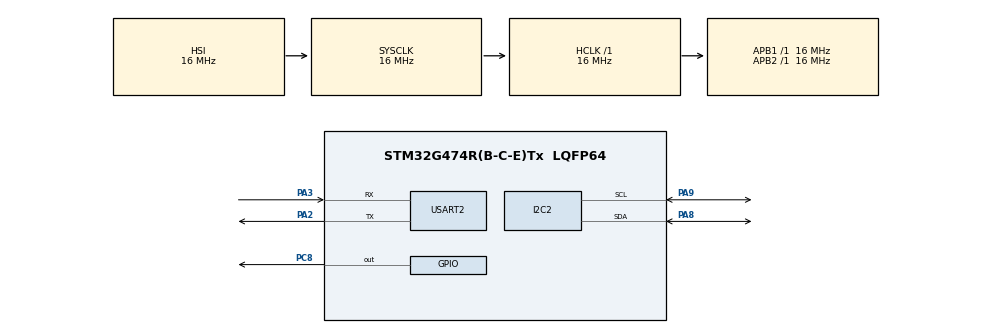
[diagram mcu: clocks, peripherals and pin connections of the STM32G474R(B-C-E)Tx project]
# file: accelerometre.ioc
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I2C2.Timing=0x00503D58
Mcu.Family=STM32G4
Mcu.Name=STM32G474R(B-C-E)Tx
Mcu.Package=LQFP64
NVIC.PriorityGroup=NVIC_PRIORITYGROUP_4
PA2.Mode=Asynchronous
PA2.Signal=USART2_TX
PA3.Mode=Asynchronous
PA3.Signal=USART2_RX
PA8.Mode=I2C
PA8.Signal=I2C2_SDA
PA9.Mode=I2C
PA9.Signal=I2C2_SCL
PC8.Signal=GPIO_Output
ProjectManager.HeapSize=0x200
ProjectManager.StackSize=0x400
ProjectManager.TargetToolchain=STM32CubeIDE
RCC.AHBFreq_Value=16000000
RCC.APB1Freq_Value=16000000
RCC.APB1TimFreq_Value=16000000
RCC.APB2Freq_Value=16000000
RCC.APB2TimFreq_Value=16000000
RCC.CortexFreq_Value=16000000
RCC.EXTERNAL_CLOCK_VALUE=12288000
RCC.HCLKFreq_Value=16000000
RCC.HSE_VALUE=8000000
RCC.HSI48_VALUE=48000000
RCC.HSI_VALUE=16000000
RCC.LSE_VALUE=32768
RCC.SYSCLKFreq_VALUE=16000000
RCC.USBFreq_Value=64000000
RCC.VCOOutputFreq_Value=128000000
USART2.VirtualMode-Asynchronous=VM_ASYNC
VP_SYS_VS_DBSignals.Mode=DisableDeadBatterySignals
board=custom

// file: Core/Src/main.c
/* USER CODE BEGIN Header */
/**
 ******************************************************************************
 * @file           : main.c
 * @brief          : Main program body
 ******************************************************************************
 * @attention
 *
 * Copyright (c) 2025 STMicroelectronics.
 * All rights reserved.
 *
 * This software is licensed under terms that can be found in the LICENSE file
 * in the root directory of this software component.
 * If no LICENSE file comes with this software, it is provided AS-IS.
 *
 ******************************************************************************
 */
/* USER CODE END Header */
#include "main.h"
#include "i2c.h"
#include "usart.h"
#include "gpio.h"

/* USER CODE BEGIN PD */

#define ADXL343_ADDR        (0x53 << 1)   // Adresse I2C 7 bits : 0x53
#define REG_DEVID           0x00
#define REG_POWER_CTL       0x2D
#define REG_DATA_FORMAT     0x31
#define REG_BW_RATE         0x2C
#define REG_INT_ENABLE      0x2E
#define REG_INT_MAP         0x2F
#define REG_INT_SOURCE      0x30
#define REG_DATAX0          0x32

// Bits
#define MEASURE_BIT         3
#define FULL_RES_BIT        3
#define RANGE_16G           0x03
#define DATA_READY_BIT      7

#define int_pin1 GPIO_PIN_8
/* USER CODE END PD */

void SystemClock_Config(void);

/* USER CODE BEGIN 0 */
//acc_dev tof_devices[NUMBER_OF_TOF] = {
//	{
//			.dev_address = 0x53,
//			.write = 0xA6,
//			.read = 0xA7,
//			.int_pin1 = {GPIOB, 12},
//			.int_pin2 = {GPIOB, 13}
//	},

int __io_putchar(int chr)
{
	HAL_UART_Transmit(&huart2, (uint8_t*) &chr, 1, HAL_MAX_DELAY);
	return chr;
}

void ADXL343_Write(uint8_t reg, uint8_t value)
{
	HAL_I2C_Mem_Write(&hi2c2, ADXL343_ADDR, reg, 1, &value, 1, HAL_MAX_DELAY);
}

void ADXL343_Read(uint8_t reg, uint8_t *buffer, uint8_t len)
{
	HAL_I2C_Mem_Read(&hi2c2, ADXL343_ADDR, reg, 1, buffer, len, HAL_MAX_DELAY);
}

void ADXL343_Init(void)
{
	uint8_t *devid = 0;
	uint8_t *val = 0;

	ADXL343_Read(REG_DEVID, devid, 1);
	if (*devid != 0xE5) {
		Error_Handler();
	}

	ADXL343_Write(REG_DATA_FORMAT, (1<<FULL_RES_BIT) | RANGE_16G);	// full resolution et +/-16g

	ADXL343_Write(REG_BW_RATE, 0x0A);		// 100 Hz

	ADXL343_Write(REG_INT_ENABLE, 0x00);	//desactiver les interruptions

	ADXL343_Write(REG_INT_MAP, 0x00);		// on utilise INT1

	ADXL343_Read(REG_INT_SOURCE, val, 1);	// lecture pour reset des interruptions

	ADXL343_Write(REG_INT_ENABLE, (1 << DATA_READY_BIT));		// activer interruption data ready

	ADXL343_Write(REG_POWER_CTL, (0 << 5 | 1 << MEASURE_BIT));	// mode mesure
}

void ADXL343_ReadXY(int16_t *x, int16_t *y)
{
	uint8_t raw[4];

	// Lecture : X0, X1, Y0, Y1
	ADXL343_Read(REG_DATAX0, raw, 4);

	*x = (int16_t)((raw[1] << 8) | raw[0]);
	*y = (int16_t)((raw[3] << 8) | raw[2]);
}

void HAL_GPIO_EXTI_Callback(uint16_t GPIO_Pin)
{
	if (GPIO_Pin == int_pin1)
	{
		int16_t x, y;
		uint8_t *val = 0;

		ADXL343_Read(REG_INT_SOURCE, val, 1);

		ADXL343_ReadXY(&x, &y);

		printf("ACC x: %d, y: %d\r\n", x, y);

	}
}

/* USER CODE END 0 */

int main(void)
{

	/* USER CODE BEGIN 1 */

	ADXL343_Init();

	/* USER CODE END 1 */

	/* MCU Configuration--------------------------------------------------------*/

	/* Reset of all peripherals, Initializes the Flash interface and the Systick. */
	HAL_Init();

	/* Configure the system clock */
	SystemClock_Config();

	/* Initialize all configured peripherals */
	MX_GPIO_Init();
	MX_I2C2_Init();
	MX_USART2_UART_Init();

	/* Infinite loop */
	while (1)
	{

	}
}

void SystemClock_Config(void)
{
	RCC_OscInitTypeDef RCC_OscInitStruct = {0};
	RCC_ClkInitTypeDef RCC_ClkInitStruct = {0};

	/** Configure the main internal regulator output voltage
	 */
	HAL_PWREx_ControlVoltageScaling(PWR_REGULATOR_VOLTAGE_SCALE1);

	/** Initializes the RCC Oscillators according to the specified parameters
	 * in the RCC_OscInitTypeDef structure.
	 */
	RCC_OscInitStruct.OscillatorType = RCC_OSCILLATORTYPE_HSI;
	RCC_OscInitStruct.HSIState = RCC_HSI_ON;
	RCC_OscInitStruct.HSICalibrationValue = RCC_HSICALIBRATION_DEFAULT;
	RCC_OscInitStruct.PLL.PLLState = RCC_PLL_NONE;
	if (HAL_RCC_OscConfig(&RCC_OscInitStruct) != HAL_OK)
	{
		Error_Handler();
	}

	/** Initializes the CPU, AHB and APB buses clocks
	 */
	RCC_ClkInitStruct.ClockType = RCC_CLOCKTYPE_HCLK|RCC_CLOCKTYPE_SYSCLK
			|RCC_CLOCKTYPE_PCLK1|RCC_CLOCKTYPE_PCLK2;
	RCC_ClkInitStruct.SYSCLKSource = RCC_SYSCLKSOURCE_HSI;
	RCC_ClkInitStruct.AHBCLKDivider = RCC_SYSCLK_DIV1;
	RCC_ClkInitStruct.APB1CLKDivider = RCC_HCLK_DIV1;
	RCC_ClkInitStruct.APB2CLKDivider = RCC_HCLK_DIV1;

	if (HAL_RCC_ClockConfig(&RCC_ClkInitStruct, FLASH_LATENCY_0) != HAL_OK)
	{
		Error_Handler();
	}
}

void Error_Handler(void)
{
	__disable_irq();
	while (1)
	{
	}
}
